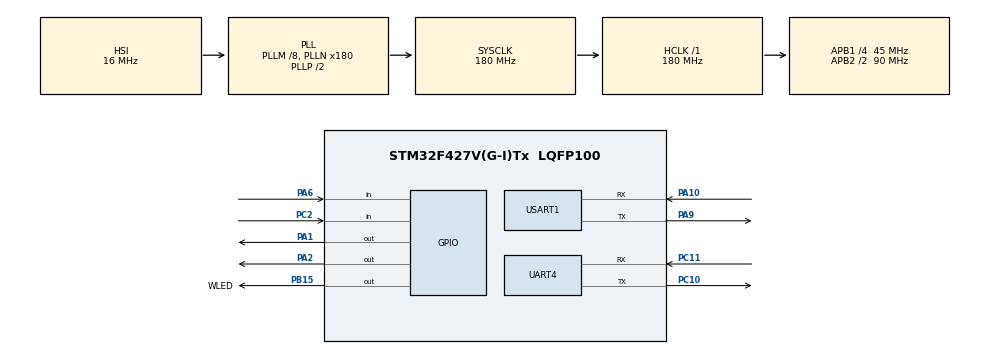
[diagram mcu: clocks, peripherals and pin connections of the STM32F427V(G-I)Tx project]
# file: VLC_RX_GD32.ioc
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Dma.Request0=UART4_RX
Dma.Request1=UART4_TX
Dma.Request2=USART1_TX
Dma.Request3=USART1_RX
Dma.UART4_RX.0.Direction=DMA_PERIPH_TO_MEMORY
Dma.UART4_RX.0.FIFOMode=DMA_FIFOMODE_DISABLE
Dma.UART4_RX.0.Instance=DMA1_Stream2
Dma.UART4_RX.0.MemDataAlignment=DMA_MDATAALIGN_BYTE
Dma.UART4_RX.0.MemInc=DMA_MINC_ENABLE
Dma.UART4_RX.0.Mode=DMA_NORMAL
Dma.UART4_RX.0.PeriphDataAlignment=DMA_PDATAALIGN_BYTE
Dma.UART4_RX.0.PeriphInc=DMA_PINC_DISABLE
Dma.UART4_RX.0.Priority=DMA_PRIORITY_LOW
Dma.UART4_TX.1.Direction=DMA_MEMORY_TO_PERIPH
Dma.UART4_TX.1.FIFOMode=DMA_FIFOMODE_DISABLE
Dma.UART4_TX.1.Instance=DMA1_Stream4
Dma.UART4_TX.1.MemDataAlignment=DMA_MDATAALIGN_BYTE
Dma.UART4_TX.1.MemInc=DMA_MINC_ENABLE
Dma.UART4_TX.1.Mode=DMA_NORMAL
Dma.UART4_TX.1.PeriphDataAlignment=DMA_PDATAALIGN_BYTE
Dma.UART4_TX.1.PeriphInc=DMA_PINC_DISABLE
Dma.UART4_TX.1.Priority=DMA_PRIORITY_LOW
Dma.USART1_RX.3.Direction=DMA_PERIPH_TO_MEMORY
Dma.USART1_RX.3.FIFOMode=DMA_FIFOMODE_DISABLE
Dma.USART1_RX.3.Instance=DMA2_Stream2
Dma.USART1_RX.3.MemDataAlignment=DMA_MDATAALIGN_BYTE
Dma.USART1_RX.3.MemInc=DMA_MINC_ENABLE
Dma.USART1_RX.3.Mode=DMA_NORMAL
Dma.USART1_RX.3.PeriphDataAlignment=DMA_PDATAALIGN_BYTE
Dma.USART1_RX.3.PeriphInc=DMA_PINC_DISABLE
Dma.USART1_RX.3.Priority=DMA_PRIORITY_LOW
Dma.USART1_TX.2.Direction=DMA_MEMORY_TO_PERIPH
Dma.USART1_TX.2.FIFOMode=DMA_FIFOMODE_DISABLE
Dma.USART1_TX.2.Instance=DMA2_Stream7
Dma.USART1_TX.2.MemDataAlignment=DMA_MDATAALIGN_BYTE
Dma.USART1_TX.2.MemInc=DMA_MINC_ENABLE
Dma.USART1_TX.2.Mode=DMA_NORMAL
Dma.USART1_TX.2.PeriphDataAlignment=DMA_PDATAALIGN_BYTE
Dma.USART1_TX.2.PeriphInc=DMA_PINC_DISABLE
Dma.USART1_TX.2.Priority=DMA_PRIORITY_LOW
Mcu.Family=STM32F4
Mcu.Name=STM32F427V(G-I)Tx
Mcu.Package=LQFP100
NVIC.DMA1_Stream2_IRQn=true\:0\:0\:false\:false\:true\:false\:true\:true
NVIC.DMA1_Stream4_IRQn=true\:0\:0\:false\:false\:true\:false\:true\:true
NVIC.DMA2_Stream2_IRQn=true\:0\:0\:false\:false\:true\:false\:true\:true
NVIC.DMA2_Stream7_IRQn=true\:0\:0\:false\:false\:true\:false\:true\:true
NVIC.PriorityGroup=NVIC_PRIORITYGROUP_4
NVIC.UART4_IRQn=true\:0\:0\:false\:false\:true\:true\:true\:true
NVIC.USART1_IRQn=true\:0\:0\:false\:false\:true\:true\:true\:true
PA1.GPIO_Speed=GPIO_SPEED_FREQ_VERY_HIGH
PA1.Signal=GPIO_Output
PA10.Mode=Asynchronous
PA10.Signal=USART1_RX
PA2.GPIO_Speed=GPIO_SPEED_FREQ_VERY_HIGH
PA2.Signal=GPIO_Output
PA6.Signal=GPIO_Input
PA9.Mode=Asynchronous
PA9.Signal=USART1_TX
PB15.GPIO_Label=WLED
PB15.Signal=GPIO_Output
PC10.Mode=Asynchronous
PC10.Signal=UART4_TX
PC11.Mode=Asynchronous
PC11.Signal=UART4_RX
PC2.Signal=GPIO_Input
PH0/OSC_IN.Mode=HSE-External-Oscillator
PH0/OSC_IN.Signal=RCC_OSC_IN
PH1/OSC_OUT.Mode=HSE-External-Oscillator
PH1/OSC_OUT.Signal=RCC_OSC_OUT
ProjectManager.HeapSize=0x200
ProjectManager.StackSize=0x400
ProjectManager.TargetToolchain=STM32CubeIDE
RCC.48MHZClocksFreq_Value=90000000
RCC.AHBFreq_Value=180000000
RCC.APB1CLKDivider=RCC_HCLK_DIV4
RCC.APB1Freq_Value=45000000
RCC.APB1TimFreq_Value=90000000
RCC.APB2CLKDivider=RCC_HCLK_DIV2
RCC.APB2Freq_Value=90000000
RCC.APB2TimFreq_Value=180000000
RCC.CortexFreq_Value=180000000
RCC.HCLKFreq_Value=180000000
RCC.HSE_VALUE=8000000
RCC.HSI_VALUE=16000000
RCC.LSE_VALUE=32768
RCC.PLLM=8
RCC.PLLN=180
RCC.SYSCLKFreq_VALUE=180000000
RCC.SYSCLKSource=RCC_SYSCLKSOURCE_PLLCLK
RCC.VCOOutputFreq_Value=360000000
TIM14.Period=1000-1
TIM14.Prescaler=90-1
TIM3.AutoReloadPreload=TIM_AUTORELOAD_PRELOAD_ENABLE
TIM3.Prescaler=90-1
UART4.VirtualMode=Asynchronous
USART1.VirtualMode=VM_ASYNC
VP_TIM14_VS_ClockSourceINT.Mode=Enable_Timer
VP_TIM3_VS_ClockSourceINT.Mode=Internal
board=custom

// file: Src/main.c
/* USER CODE BEGIN Header */
/**
******************************************************************************
* @file           : main.c
* @brief          : Main program body
******************************************************************************
* @attention
*
* Copyright (c) 2023 STMicroelectronics.
* All rights reserved.
*
* This software is licensed under terms that can be found in the LICENSE file
* in the root directory of this software component.
* If no LICENSE file comes with this software, it is provided AS-IS.
*
******************************************************************************
*/
/* USER CODE END Header */
#include "main.h"
#include "dma.h"
#include "tim.h"
#include "usart.h"
#include "gpio.h"

/* USER CODE BEGIN Includes */
#include "VLC_transmitter.h"
#include "VLC_timer.h"
/* USER CODE END Includes */

/* USER CODE BEGIN PV */
uint8_t DETECT_DATA_FLAG = 0;    // PD receives message = 1, else = 0;
uint8_t VLC_RX_DATA_BUFFER[RECEIVE_BYTES_LENGTH]; // Data buffer that stores the encoded data.
uint8_t transmitted_data[FRAME_LENGTH];
/* USER CODE END PV */

void SystemClock_Config(void);

int main(void)
{

  /* MCU Configuration--------------------------------------------------------*/

  /* Reset of all peripherals, Initializes the Flash interface and the Systick. */
  HAL_Init();

  /* Configure the system clock */
  SystemClock_Config();

  /* Initialize all configured peripherals */
  MX_GPIO_Init();
  MX_DMA_Init();
  MX_USART1_UART_Init();
  MX_UART4_Init();
  MX_TIM14_Init();
  MX_TIM3_Init();
  /* USER CODE BEGIN 2 */
  VLC_timer_init();
  char* mes1 = "WBCD1234";
  char* mes2 = "ABCD1234";
  char* mes3 = "DBCD1234";
  char* mes4 = "XBCD1234";
  /* USER CODE END 2 */

  /* Infinite loop */
  /* USER CODE BEGIN WHILE */
    while (1) {
        VLC_Gpio_transmitter_send("WBCD1234");
        HAL_UART_Transmit_DMA(&huart4,mes1,PAYLOAD_LENGTH);
        VLC_Gpio_transmitter_idle();
        VLC_Gpio_transmitter_idle();
        VLC_Gpio_transmitter_idle();

        VLC_Gpio_transmitter_send("ABCD1234");
        HAL_UART_Transmit_DMA(&huart4,mes2,PAYLOAD_LENGTH);
        VLC_Gpio_transmitter_idle();

        VLC_Gpio_transmitter_send("WBCD1234");
        HAL_UART_Transmit_DMA(&huart4,mes1,PAYLOAD_LENGTH);
        VLC_Gpio_transmitter_idle();

        VLC_Gpio_transmitter_send("DBCD1234");
        HAL_UART_Transmit_DMA(&huart4,mes3,PAYLOAD_LENGTH);
        VLC_Gpio_transmitter_idle();

        VLC_Gpio_transmitter_send("WBCD1234");
        HAL_UART_Transmit_DMA(&huart4,mes1,PAYLOAD_LENGTH);
        VLC_Gpio_transmitter_idle();

        VLC_Gpio_transmitter_send("SBCD1234");
        HAL_UART_Transmit_DMA(&huart4,mes1,PAYLOAD_LENGTH);
        VLC_Gpio_transmitter_idle();

        VLC_Gpio_transmitter_send("XBCD1234");
        HAL_UART_Transmit_DMA(&huart4,mes4,PAYLOAD_LENGTH);
        VLC_Gpio_transmitter_idle();
        VLC_Gpio_transmitter_idle();
        VLC_Gpio_transmitter_idle();
    /* USER CODE END WHILE */

    }
}

void SystemClock_Config(void)
{
  RCC_OscInitTypeDef RCC_OscInitStruct = {0};
  RCC_ClkInitTypeDef RCC_ClkInitStruct = {0};

  /** Configure the main internal regulator output voltage
  */
  __HAL_RCC_PWR_CLK_ENABLE();
  __HAL_PWR_VOLTAGESCALING_CONFIG(PWR_REGULATOR_VOLTAGE_SCALE1);

  /** Initializes the RCC Oscillators according to the specified parameters
  * in the RCC_OscInitTypeDef structure.
  */
  RCC_OscInitStruct.OscillatorType = RCC_OSCILLATORTYPE_HSI;
  RCC_OscInitStruct.HSIState = RCC_HSI_ON;
  RCC_OscInitStruct.HSICalibrationValue = RCC_HSICALIBRATION_DEFAULT;
  RCC_OscInitStruct.PLL.PLLState = RCC_PLL_ON;
  RCC_OscInitStruct.PLL.PLLSource = RCC_PLLSOURCE_HSI;
  RCC_OscInitStruct.PLL.PLLM = 8;
  RCC_OscInitStruct.PLL.PLLN = 180;
  RCC_OscInitStruct.PLL.PLLP = RCC_PLLP_DIV2;
  RCC_OscInitStruct.PLL.PLLQ = 4;
  if (HAL_RCC_OscConfig(&RCC_OscInitStruct) != HAL_OK)
  {
    Error_Handler();
  }

  /** Activate the Over-Drive mode
  */
  if (HAL_PWREx_EnableOverDrive() != HAL_OK)
  {
    Error_Handler();
  }

  /** Initializes the CPU, AHB and APB buses clocks
  */
  RCC_ClkInitStruct.ClockType = RCC_CLOCKTYPE_HCLK|RCC_CLOCKTYPE_SYSCLK
                              |RCC_CLOCKTYPE_PCLK1|RCC_CLOCKTYPE_PCLK2;
  RCC_ClkInitStruct.SYSCLKSource = RCC_SYSCLKSOURCE_PLLCLK;
  RCC_ClkInitStruct.AHBCLKDivider = RCC_SYSCLK_DIV1;
  RCC_ClkInitStruct.APB1CLKDivider = RCC_HCLK_DIV4;
  RCC_ClkInitStruct.APB2CLKDivider = RCC_HCLK_DIV2;

  if (HAL_RCC_ClockConfig(&RCC_ClkInitStruct, FLASH_LATENCY_5) != HAL_OK)
  {
    Error_Handler();
  }
}

void Error_Handler(void)
{
    __disable_irq();
    while (1) {
    }
}
